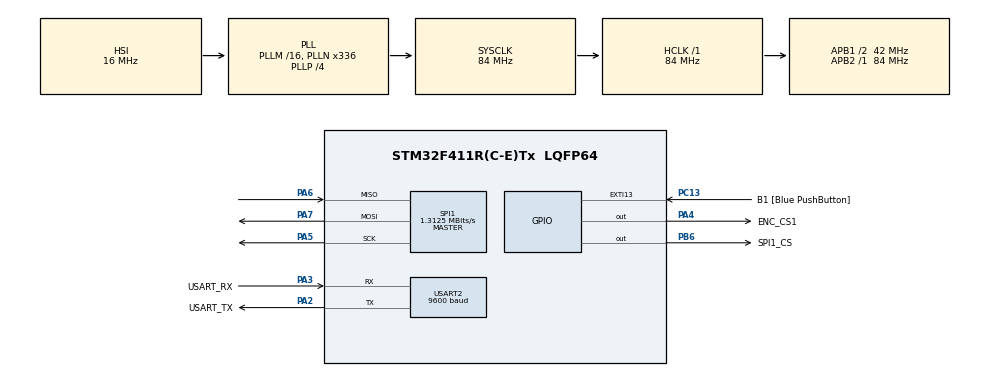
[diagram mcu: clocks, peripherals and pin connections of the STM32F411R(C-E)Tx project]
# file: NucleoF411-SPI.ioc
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Mcu.Family=STM32F4
Mcu.Name=STM32F411R(C-E)Tx
Mcu.Package=LQFP64
NVIC.PriorityGroup=NVIC_PRIORITYGROUP_0
PA13.GPIO_Label=TMS
PA13.Signal=SYS_JTMS-SWDIO
PA14.GPIO_Label=TCK
PA14.Signal=SYS_JTCK-SWCLK
PA2.GPIO_Label=USART_TX
PA2.Mode=Asynchronous
PA2.Signal=USART2_TX
PA3.GPIO_Label=USART_RX
PA3.Mode=Asynchronous
PA3.Signal=USART2_RX
PA4.GPIO_Label=ENC_CS1
PA4.GPIO_Speed=GPIO_SPEED_FREQ_VERY_HIGH
PA4.Signal=GPIO_Output
PA5.GPIO_PuPd=GPIO_PULLUP
PA5.Mode=Full_Duplex_Master
PA5.Signal=SPI1_SCK
PA6.GPIO_PuPd=GPIO_PULLUP
PA6.Mode=Full_Duplex_Master
PA6.Signal=SPI1_MISO
PA7.GPIO_PuPd=GPIO_PULLUP
PA7.Mode=Full_Duplex_Master
PA7.Signal=SPI1_MOSI
PB3.GPIO_Label=SWO
PB3.Signal=SYS_JTDO-SWO
PB6.GPIO_Label=SPI1_CS
PB6.GPIO_PuPd=GPIO_PULLUP
PB6.GPIO_Speed=GPIO_SPEED_FREQ_VERY_HIGH
PB6.PinState=GPIO_PIN_SET
PB6.Signal=GPIO_Output
PC13-ANTI_TAMP.GPIO_Label=B1 [Blue PushButton]
PC13-ANTI_TAMP.GPIO_ModeDefaultEXTI=GPIO_MODE_IT_FALLING
PC13-ANTI_TAMP.Signal=GPXTI13
PC14-OSC32_IN.Signal=RCC_OSC32_IN
PC15-OSC32_OUT.Signal=RCC_OSC32_OUT
PH0\ -\ OSC_IN.Signal=RCC_OSC_IN
PH1\ -\ OSC_OUT.Signal=RCC_OSC_OUT
ProjectManager.HeapSize=0x200
ProjectManager.StackSize=0x400
ProjectManager.TargetToolchain=SW4STM32
RCC.48MHZClocksFreq_Value=84000000
RCC.AHBFreq_Value=84000000
RCC.APB1CLKDivider=RCC_HCLK_DIV2
RCC.APB1Freq_Value=42000000
RCC.APB1TimFreq_Value=84000000
RCC.APB2Freq_Value=84000000
RCC.APB2TimFreq_Value=84000000
RCC.CortexFreq_Value=84000000
RCC.FLatency-AdvancedSettings=FLASH_LATENCY_2
RCC.HCLKFreq_Value=84000000
RCC.HSE_VALUE=8000000
RCC.HSI_VALUE=16000000
RCC.LSE_VALUE=32768
RCC.PLLN=336
RCC.PLLP=RCC_PLLP_DIV4
RCC.PLLSourceVirtual=RCC_PLLSOURCE_HSI
RCC.SYSCLKFreq_VALUE=84000000
RCC.SYSCLKSource=RCC_SYSCLKSOURCE_PLLCLK
RCC.VCOOutputFreq_Value=336000000
SPI1.BaudRatePrescaler=SPI_BAUDRATEPRESCALER_64
SPI1.CalculateBaudRate=1.3125 MBits/s
SPI1.Direction=SPI_DIRECTION_2LINES
SPI1.Mode=SPI_MODE_MASTER
SPI1.VirtualType=VM_MASTER
USART2.BaudRate=9600
USART2.HwFlowCtl-Asynchronous=UART_HWCONTROL_NONE
USART2.VirtualMode=VM_ASYNC
board=NUCLEO-F411RE

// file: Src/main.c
/**
  ******************************************************************************
  * File Name          : main.c
  * Description        : Main program body
  ******************************************************************************
  ** This notice applies to any and all portions of this file
  * that are not between comment pairs USER CODE BEGIN and
  * USER CODE END. Other portions of this file, whether
  * inserted by the user or by software development tools
  * are owned by their respective copyright owners.
  *
  * COPYRIGHT(c) 2017 STMicroelectronics
  *
  * Redistribution and use in source and binary forms, with or without modification,
  * are permitted provided that the following conditions are met:
  *   1. Redistributions of source code must retain the above copyright notice,
  *      this list of conditions and the following disclaimer.
  *   2. Redistributions in binary form must reproduce the above copyright notice,
  *      this list of conditions and the following disclaimer in the documentation
  *      and/or other materials provided with the distribution.
  *   3. Neither the name of STMicroelectronics nor the names of its contributors
  *      may be used to endorse or promote products derived from this software
  *      without specific prior written permission.
  *
  * THIS SOFTWARE IS PROVIDED BY THE COPYRIGHT HOLDERS AND CONTRIBUTORS "AS IS"
  * AND ANY EXPRESS OR IMPLIED WARRANTIES, INCLUDING, BUT NOT LIMITED TO, THE
  * IMPLIED WARRANTIES OF MERCHANTABILITY AND FITNESS FOR A PARTICULAR PURPOSE ARE
  * DISCLAIMED. IN NO EVENT SHALL THE COPYRIGHT HOLDER OR CONTRIBUTORS BE LIABLE
  * FOR ANY DIRECT, INDIRECT, INCIDENTAL, SPECIAL, EXEMPLARY, OR CONSEQUENTIAL
  * DAMAGES (INCLUDING, BUT NOT LIMITED TO, PROCUREMENT OF SUBSTITUTE GOODS OR
  * SERVICES; LOSS OF USE, DATA, OR PROFITS; OR BUSINESS INTERRUPTION) HOWEVER
  * CAUSED AND ON ANY THEORY OF LIABILITY, WHETHER IN CONTRACT, STRICT LIABILITY,
  * OR TORT (INCLUDING NEGLIGENCE OR OTHERWISE) ARISING IN ANY WAY OUT OF THE USE
  * OF THIS SOFTWARE, EVEN IF ADVISED OF THE POSSIBILITY OF SUCH DAMAGE.
  *
  ******************************************************************************
  */
#include "main.h"
#include "stm32f4xx_hal.h"

SPI_HandleTypeDef hspi1;

UART_HandleTypeDef huart2;

/* USER CODE BEGIN PV */
/* Private variables ---------------------------------------------------------*/

/* USER CODE END PV */

void SystemClock_Config(void);
static void MX_GPIO_Init(void);
static void MX_SPI1_Init(void);
static void MX_USART2_UART_Init(void);

/* USER CODE BEGIN PFP */
/* Private function prototypes -----------------------------------------------*/

/* USER CODE END PFP */

/* USER CODE BEGIN 0 */
int _write( int file, char *ptr, int len )
{
  HAL_UART_Transmit(&huart2,(uint8_t*) ptr, len, 1000);
  return len;
}
/* USER CODE END 0 */

int main(void)
{

  /* MCU Configuration----------------------------------------------------------*/

  /* Reset of all peripherals, Initializes the Flash interface and the Systick. */
  HAL_Init();

  /* Configure the system clock */
  SystemClock_Config();

  /* Initialize all configured peripherals */
  MX_GPIO_Init();
  MX_SPI1_Init();
  MX_USART2_UART_Init();

  /* USER CODE BEGIN 2 */
  uint16_t sData[2];
  uint16_t rData[2];
  uint16_t res;
  /* USER CODE END 2 */

  /* Infinite loop */
  while (1)
  {

  /* USER CODE BEGIN 3 */
	  //CS low
	HAL_GPIO_WritePin(ENC_CS1_GPIO_Port, ENC_CS1_Pin,0);
	sData[0]=0xFF;
	sData[1]=0xFF;
	HAL_SPI_TransmitReceive(&hspi1,sData,rData,2,100);

	res =(rData[0]<<8)+rData[1];
	res = 0x3FFF&res;
	//CS High
	HAL_GPIO_WritePin(ENC_CS1_GPIO_Port, ENC_CS1_Pin,1);

	HAL_Delay(500);
	printf("ENC VAL: %d \n", res);

  }
  /* USER CODE END 3 */

}

/** System Clock Configuration
*/
void SystemClock_Config(void)
{

  RCC_OscInitTypeDef RCC_OscInitStruct;
  RCC_ClkInitTypeDef RCC_ClkInitStruct;

    /**Configure the main internal regulator output voltage
    */
  __HAL_RCC_PWR_CLK_ENABLE();

  __HAL_PWR_VOLTAGESCALING_CONFIG(PWR_REGULATOR_VOLTAGE_SCALE1);

    /**Initializes the CPU, AHB and APB busses clocks
    */
  RCC_OscInitStruct.OscillatorType = RCC_OSCILLATORTYPE_HSI;
  RCC_OscInitStruct.HSIState = RCC_HSI_ON;
  RCC_OscInitStruct.HSICalibrationValue = 16;
  RCC_OscInitStruct.PLL.PLLState = RCC_PLL_ON;
  RCC_OscInitStruct.PLL.PLLSource = RCC_PLLSOURCE_HSI;
  RCC_OscInitStruct.PLL.PLLM = 16;
  RCC_OscInitStruct.PLL.PLLN = 336;
  RCC_OscInitStruct.PLL.PLLP = RCC_PLLP_DIV4;
  RCC_OscInitStruct.PLL.PLLQ = 4;
  if (HAL_RCC_OscConfig(&RCC_OscInitStruct) != HAL_OK)
  {
    _Error_Handler(__FILE__, __LINE__);
  }

    /**Initializes the CPU, AHB and APB busses clocks
    */
  RCC_ClkInitStruct.ClockType = RCC_CLOCKTYPE_HCLK|RCC_CLOCKTYPE_SYSCLK
                              |RCC_CLOCKTYPE_PCLK1|RCC_CLOCKTYPE_PCLK2;
  RCC_ClkInitStruct.SYSCLKSource = RCC_SYSCLKSOURCE_PLLCLK;
  RCC_ClkInitStruct.AHBCLKDivider = RCC_SYSCLK_DIV1;
  RCC_ClkInitStruct.APB1CLKDivider = RCC_HCLK_DIV2;
  RCC_ClkInitStruct.APB2CLKDivider = RCC_HCLK_DIV1;

  if (HAL_RCC_ClockConfig(&RCC_ClkInitStruct, FLASH_LATENCY_2) != HAL_OK)
  {
    _Error_Handler(__FILE__, __LINE__);
  }

    /**Configure the Systick interrupt time
    */
  HAL_SYSTICK_Config(HAL_RCC_GetHCLKFreq()/1000);

    /**Configure the Systick
    */
  HAL_SYSTICK_CLKSourceConfig(SYSTICK_CLKSOURCE_HCLK);

  /* SysTick_IRQn interrupt configuration */
  HAL_NVIC_SetPriority(SysTick_IRQn, 0, 0);
}

/* SPI1 init function */
static void MX_SPI1_Init(void)
{

  /* SPI1 parameter configuration*/
  hspi1.Instance = SPI1;
  hspi1.Init.Mode = SPI_MODE_MASTER;
  hspi1.Init.Direction = SPI_DIRECTION_2LINES;
  hspi1.Init.DataSize = SPI_DATASIZE_8BIT;
  hspi1.Init.CLKPolarity = SPI_POLARITY_LOW;
  hspi1.Init.CLKPhase = SPI_PHASE_1EDGE;
  hspi1.Init.NSS = SPI_NSS_SOFT;
  hspi1.Init.BaudRatePrescaler = SPI_BAUDRATEPRESCALER_64;
  hspi1.Init.FirstBit = SPI_FIRSTBIT_MSB;
  hspi1.Init.TIMode = SPI_TIMODE_DISABLE;
  hspi1.Init.CRCCalculation = SPI_CRCCALCULATION_DISABLE;
  hspi1.Init.CRCPolynomial = 10;
  if (HAL_SPI_Init(&hspi1) != HAL_OK)
  {
    _Error_Handler(__FILE__, __LINE__);
  }

}

/* USART2 init function */
static void MX_USART2_UART_Init(void)
{

  huart2.Instance = USART2;
  huart2.Init.BaudRate = 9600;
  huart2.Init.WordLength = UART_WORDLENGTH_8B;
  huart2.Init.StopBits = UART_STOPBITS_1;
  huart2.Init.Parity = UART_PARITY_NONE;
  huart2.Init.Mode = UART_MODE_TX_RX;
  huart2.Init.HwFlowCtl = UART_HWCONTROL_NONE;
  huart2.Init.OverSampling = UART_OVERSAMPLING_16;
  if (HAL_UART_Init(&huart2) != HAL_OK)
  {
    _Error_Handler(__FILE__, __LINE__);
  }

}

/** Configure pins as
        * Analog
        * Input
        * Output
        * EVENT_OUT
        * EXTI
*/
static void MX_GPIO_Init(void)
{

  GPIO_InitTypeDef GPIO_InitStruct;

  /* GPIO Ports Clock Enable */
  __HAL_RCC_GPIOC_CLK_ENABLE();
  __HAL_RCC_GPIOH_CLK_ENABLE();
  __HAL_RCC_GPIOA_CLK_ENABLE();
  __HAL_RCC_GPIOB_CLK_ENABLE();

  /*Configure GPIO pin Output Level */
  HAL_GPIO_WritePin(ENC_CS1_GPIO_Port, ENC_CS1_Pin, GPIO_PIN_RESET);

  /*Configure GPIO pin Output Level */
  HAL_GPIO_WritePin(SPI1_CS_GPIO_Port, SPI1_CS_Pin, GPIO_PIN_SET);

  /*Configure GPIO pin : B1_Pin */
  GPIO_InitStruct.Pin = B1_Pin;
  GPIO_InitStruct.Mode = GPIO_MODE_IT_FALLING;
  GPIO_InitStruct.Pull = GPIO_NOPULL;
  HAL_GPIO_Init(B1_GPIO_Port, &GPIO_InitStruct);

  /*Configure GPIO pin : ENC_CS1_Pin */
  GPIO_InitStruct.Pin = ENC_CS1_Pin;
  GPIO_InitStruct.Mode = GPIO_MODE_OUTPUT_PP;
  GPIO_InitStruct.Pull = GPIO_NOPULL;
  GPIO_InitStruct.Speed = GPIO_SPEED_FREQ_VERY_HIGH;
  HAL_GPIO_Init(ENC_CS1_GPIO_Port, &GPIO_InitStruct);

  /*Configure GPIO pin : SPI1_CS_Pin */
  GPIO_InitStruct.Pin = SPI1_CS_Pin;
  GPIO_InitStruct.Mode = GPIO_MODE_OUTPUT_PP;
  GPIO_InitStruct.Pull = GPIO_PULLUP;
  GPIO_InitStruct.Speed = GPIO_SPEED_FREQ_VERY_HIGH;
  HAL_GPIO_Init(SPI1_CS_GPIO_Port, &GPIO_InitStruct);

}

void _Error_Handler(char * file, int line)
{
  while(1)
  {
  }
}

/************************ (C) COPYRIGHT STMicroelectronics *****END OF FILE****/
